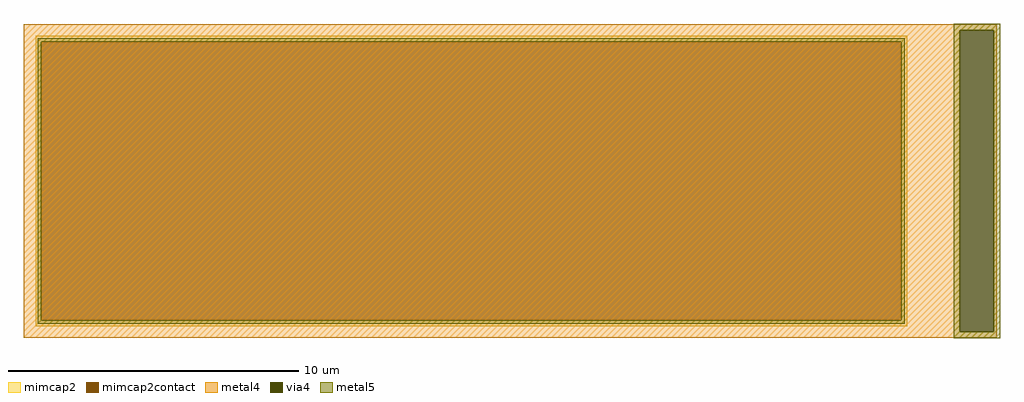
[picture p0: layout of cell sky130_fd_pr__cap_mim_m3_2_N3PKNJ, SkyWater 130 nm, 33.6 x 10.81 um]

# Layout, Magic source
magic
tech sky130A
magscale 1 2
<< metal4 >>
rect -3349 1039 3349 1080
rect -3349 -1039 3093 1039
rect 3329 -1039 3349 1039
rect -3349 -1080 3349 -1039
<< via4 >>
rect 3093 -1039 3329 1039
<< mimcap2 >>
rect -3269 960 2731 1000
rect -3269 -960 -3229 960
rect 2691 -960 2731 960
rect -3269 -1000 2731 -960
<< mimcap2contact >>
rect -3229 -960 2691 960
<< metal5 >>
rect 3051 1039 3371 1081
rect -3253 960 2715 984
rect -3253 -960 -3229 960
rect 2691 -960 2715 960
rect -3253 -984 2715 -960
rect 3051 -1039 3093 1039
rect 3329 -1039 3371 1039
rect 3051 -1081 3371 -1039
<< properties >>
string FIXED_BBOX -3349 -1080 2811 1080
string gencell sky130_fd_pr__cap_mim_m3_2
string library sky130
string parameters w 30 l 10 val 615.2 carea 2.00 cperi 0.19 nx 1 ny 1 dummy 0 square 0 lmin 2.00 wmin 2.00 lmax 30.0 wmax 30.0 dc 0 bconnect 1 tconnect 1 ccov 100
<< end >>
